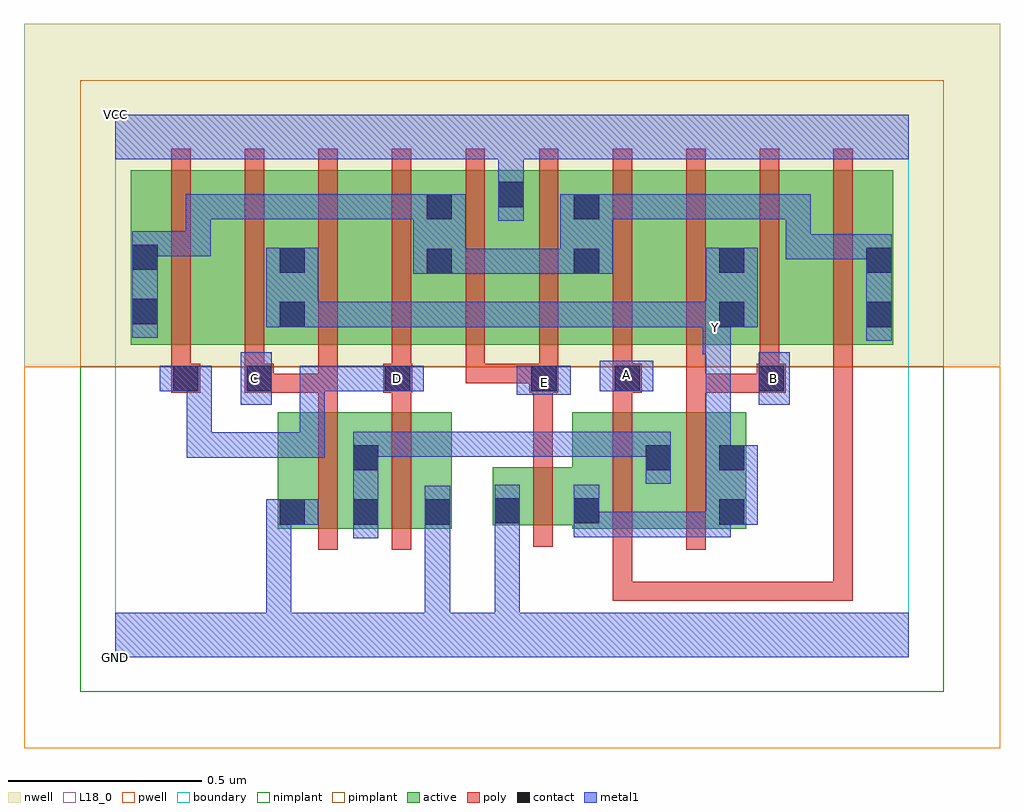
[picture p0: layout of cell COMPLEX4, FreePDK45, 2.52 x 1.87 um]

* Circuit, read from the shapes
.subckt COMPLEX4 A B C D E GND VCC Y
M1 n1 C GND VSUBS nfet w=0.3u l=0.05u
M2 GND D n1 VSUBS nfet w=0.3u l=0.05u
M3 Y E GND VSUBS nfet w=0.15u l=0.05u
M4 n1 A Y VSUBS nfet w=0.3u l=0.05u
M5 Y B n1 VSUBS nfet w=0.3u l=0.05u
M6 n2 D n3 n4 pfet w=0.45u l=0.05u
M7 Y C n2 n4 pfet w=0.45u l=0.05u
M8 n5 C Y n4 pfet w=0.45u l=0.05u
M9 n3 D n5 n4 pfet w=0.45u l=0.05u
M10 VCC E n3 n4 pfet w=0.45u l=0.05u m=2
M11 n6 A n3 n4 pfet w=0.45u l=0.05u
M12 Y B n6 n4 pfet w=0.45u l=0.05u
M13 n7 B Y n4 pfet w=0.45u l=0.05u
M14 n3 A n7 n4 pfet w=0.45u l=0.05u
.ends

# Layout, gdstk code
import gdstk
lib = gdstk.Library(unit=1e-6, precision=1e-09)
def R(c, l, rs):  # rectangles x0, y0, x1, y1
    for r in rs: c.add(gdstk.rectangle(r[:2], r[2:], *l))
def A(c, l, x, y, w, h, nx, ny, dx, dy):  # array of equal rectangles
    R(c, l, [(x+i*dx, y+j*dy, x+i*dx+w, y+j*dy+h) for i in range(nx) for j in range(ny)])
active = (1, 0)
pwell = (2, 0)
nwell = (3, 0)
nimplant = (4, 0)
pimplant = (5, 0)
poly = (9, 0)
contact = (10, 0)
metal1 = (11, 0)
L18_0 = (18, 0)
boundary = (235, 0)

complex4 = lib.new_cell('COMPLEX4')
R(complex4, active, [(0.42,0.332,0.685,0.632), (0.42,0.332,0.495,0.632), (0.61,0.332,0.87,0.632), (0.61,0.332,0.685,0.552), (0.795,0.332,0.87,0.547), (1.18,0.332,1.44,0.632), (1.18,0.332,1.255,0.49), (1.365,0.332,1.63,0.632), (1.555,0.337,1.63,0.632), (0.975,0.34,1.255,0.49), (0.975,0.34,1.05,0.49), (1.365,0.395,1.44,0.552), (0.04,0.807,0.265,1.257), (0.04,0.807,0.145,1.2), (0.265,0.807,0.495,1.257), (0.42,0.807,0.645,1.257), (0.42,0.807,0.495,1.07), (0.645,0.807,0.875,1.257), (0.8,0.807,1.06,1.257), (0.985,0.807,1.255,1.257), (1.18,0.807,1.405,1.257), (1.405,0.807,1.63,1.257), (1.555,0.807,1.785,1.257), (1.555,0.807,1.63,1.07), (1.785,0.807,2.01,1.257), (1.935,0.807,2.01,1.2), (0.985,0.852,1.06,1.255), (0.8,0.857,0.875,1.2), (1.18,0.857,1.255,1.2)])
R(complex4, pwell, [(-0.235,-0.235,2.285,0.75)])
R(complex4, nwell, [(-0.235,0.75,2.285,1.635)])
R(complex4, nimplant, [(-0.09,-0.09,2.14,0.75)])
R(complex4, pimplant, [(-0.09,0.75,2.14,1.49)])
A(complex4, poly, 0.715, 0.707, 0.05, 0.095, 4, 1, 0.19, 0)
A(complex4, poly, 0.145, 0.752, 0.05, 0.56, 10, 1, 0.19, 0)
R(complex4, poly, [(1.285,0.145,1.335,0.195), (1.285,0.145,1.335,0.195), (1.285,0.145,1.335,0.195), (1.285,0.145,1.575,0.195), (1.285,0.145,1.335,0.327), (1.525,0.145,1.575,0.195), (1.525,0.145,1.575,0.195), (1.525,0.145,1.575,0.195), (1.525,0.145,1.772,0.195), (1.722,0.145,1.772,0.195), (1.722,0.145,1.772,0.195), (1.722,0.145,1.772,0.195), (1.722,0.145,1.905,0.195), (1.855,0.145,1.905,0.802), (1.855,0.145,1.905,0.195), (1.855,0.145,1.905,0.195), (1.855,0.145,1.905,0.195), (1.855,0.145,1.905,0.195), (1.855,0.145,1.905,0.195), (1.855,0.145,1.905,0.195), (1.855,0.145,1.905,0.195), (1.855,0.145,1.905,0.195), (1.855,0.145,1.905,0.195), (0.525,0.277,0.575,0.687), (0.715,0.277,0.765,0.687), (1.285,0.277,1.335,0.687), (1.475,0.277,1.525,0.687), (1.08,0.285,1.13,0.545), (1.08,0.495,1.13,0.732), (0.525,0.637,0.575,0.732), (0.715,0.637,0.765,0.732), (1.285,0.637,1.335,0.732), (1.475,0.637,1.525,0.732), (0.145,0.682,0.22,0.757), (0.335,0.682,0.41,0.757), (0.36,0.682,0.41,0.732), (0.36,0.682,0.41,0.732), (0.36,0.682,0.575,0.732), (0.525,0.682,0.575,0.732), (0.525,0.682,0.575,0.802), (0.692,0.682,0.767,0.757), (1.07,0.682,1.145,0.757), (1.285,0.682,1.36,0.757), (1.475,0.682,1.525,0.732), (1.475,0.682,1.707,0.732), (1.475,0.682,1.525,0.802), (1.657,0.682,1.707,0.732), (1.657,0.682,1.707,0.732), (1.657,0.682,1.732,0.757), (0.145,0.707,0.195,0.802), (0.335,0.707,0.385,0.802), (0.905,0.707,0.955,0.757), (0.905,0.707,0.955,0.757), (0.905,0.707,0.955,0.757), (0.905,0.707,1.12,0.757), (1.665,0.707,1.715,0.802)])
R(complex4, contact, [(0.425,0.342,0.49,0.407), (0.615,0.342,0.68,0.407), (0.8,0.342,0.865,0.407), (1.56,0.342,1.625,0.407), (0.98,0.345,1.045,0.41), (1.185,0.345,1.25,0.41), (0.615,0.482,0.68,0.547), (1.37,0.482,1.435,0.547), (1.56,0.482,1.625,0.547), (0.15,0.687,0.215,0.752), (0.34,0.687,0.405,0.752), (0.697,0.687,0.762,0.752), (1.075,0.687,1.14,0.752), (1.29,0.687,1.355,0.752), (1.662,0.687,1.727,0.752), (0.425,0.852,0.49,0.917), (1.56,0.852,1.625,0.917), (1.94,0.852,2.005,0.917), (0.045,0.86,0.11,0.925), (0.805,0.99,0.87,1.055), (1.185,0.99,1.25,1.055), (0.425,0.992,0.49,1.057), (1.56,0.992,1.625,1.057), (1.94,0.992,2.005,1.057), (0.045,1,0.11,1.065), (0.805,1.13,0.87,1.195), (1.185,1.13,1.25,1.195), (0.99,1.162,1.055,1.227)])
R(complex4, metal1, [(0,0,2.05,0.115), (0.39,0.05,0.455,0.407), (0.8,0.05,0.865,0.372), (0.98,0.05,1.045,0.115), (0.98,0.05,1.045,0.115), (0.98,0.05,1.045,0.375), (0.615,0.307,0.68,0.582), (0.8,0.307,0.865,0.372), (0.8,0.307,0.865,0.372), (0.8,0.307,0.865,0.372), (0.8,0.307,0.865,0.372), (0.8,0.307,0.865,0.442), (0.98,0.31,1.045,0.375), (0.98,0.31,1.045,0.375), (0.98,0.31,1.045,0.375), (0.98,0.31,1.045,0.375), (0.98,0.31,1.045,0.445), (1.185,0.31,1.25,0.445), (1.185,0.31,1.445,0.375), (1.38,0.31,1.445,0.375), (1.38,0.31,1.445,0.375), (1.38,0.31,1.445,0.375), (1.38,0.31,1.59,0.375), (1.525,0.31,1.59,0.375), (1.525,0.31,1.59,0.375), (1.525,0.31,1.59,0.375), (1.525,0.31,1.59,0.407), (0.39,0.342,0.455,0.407), (0.39,0.342,0.455,0.407), (0.39,0.342,0.455,0.407), (0.39,0.342,0.455,0.407), (0.39,0.342,0.525,0.407), (1.525,0.342,1.66,0.547), (1.37,0.447,1.435,0.582), (1.525,0.482,1.59,0.847), (0.185,0.515,0.25,0.58), (0.185,0.515,0.387,0.58), (0.185,0.515,0.25,0.752), (0.322,0.515,0.387,0.58), (0.322,0.515,0.542,0.58), (0.477,0.515,0.542,0.58), (0.477,0.515,0.542,0.752), (0.615,0.517,0.68,0.582), (0.615,0.517,0.68,0.582), (0.615,0.517,0.817,0.582), (0.752,0.517,0.817,0.582), (0.752,0.517,0.817,0.582), (0.752,0.517,0.817,0.582), (0.752,0.517,1.042,0.582), (0.977,0.517,1.042,0.582), (0.977,0.517,1.042,0.582), (0.977,0.517,1.042,0.582), (0.977,0.517,1.182,0.582), (1.117,0.517,1.182,0.582), (1.117,0.517,1.182,0.582), (1.117,0.517,1.182,0.582), (1.117,0.517,1.435,0.582), (0.325,0.652,0.405,0.787), (1.662,0.652,1.742,0.787), (1.037,0.677,1.177,0.752), (0.115,0.687,0.25,0.752), (0.185,0.687,0.25,0.752), (0.185,0.687,0.25,0.752), (0.477,0.687,0.542,0.752), (0.477,0.687,0.542,0.752), (0.477,0.687,0.542,0.752), (0.477,0.687,0.68,0.752), (0.615,0.687,0.68,0.752), (0.615,0.687,0.727,0.752), (0.662,0.687,0.797,0.752), (1.252,0.687,1.39,0.765), (1.517,0.782,1.59,0.917), (1.94,0.817,2.005,1.092), (0.045,0.825,0.11,1.1), (0.39,0.852,0.525,1.057), (0.46,0.852,0.542,0.917), (0.477,0.852,0.542,0.917), (0.477,0.852,0.68,0.917), (0.615,0.852,0.68,0.917), (0.615,0.852,0.68,0.917), (0.615,0.852,0.68,0.917), (0.615,0.852,0.817,0.917), (0.752,0.852,0.817,0.917), (0.752,0.852,0.817,0.917), (0.752,0.852,0.817,0.917), (0.752,0.852,1.042,0.917), (0.977,0.852,1.042,0.917), (0.977,0.852,1.042,0.917), (0.977,0.852,1.042,0.917), (0.977,0.852,1.18,0.917), (1.115,0.852,1.18,0.917), (1.115,0.852,1.445,0.917), (1.38,0.852,1.445,0.917), (1.38,0.852,1.445,0.917), (1.38,0.852,1.445,0.917), (1.38,0.852,1.59,0.917), (1.525,0.852,1.59,0.917), (1.525,0.852,1.59,0.917), (1.525,0.852,1.59,0.917), (1.525,0.852,1.66,1.057), (0.77,0.99,0.905,1.195), (0.84,0.99,0.905,1.055), (0.84,0.99,0.905,1.055), (0.84,0.99,1.042,1.055), (0.977,0.99,1.042,1.055), (0.977,0.99,1.042,1.055), (0.977,0.99,1.042,1.055), (0.977,0.99,1.215,1.055), (1.15,0.99,1.285,1.195), (1.732,1.027,1.797,1.092), (1.732,1.027,2.005,1.092), (1.732,1.027,1.797,1.195), (1.94,1.027,2.005,1.092), (1.94,1.027,2.005,1.092), (0.045,1.035,0.11,1.1), (0.045,1.035,0.11,1.1), (0.045,1.035,0.247,1.1), (0.182,1.035,0.247,1.1), (0.182,1.035,0.247,1.195), (0.99,1.127,1.055,1.262), (0.182,1.13,0.247,1.195), (0.182,1.13,0.405,1.195), (0.34,1.13,0.405,1.195), (0.34,1.13,0.405,1.195), (0.34,1.13,0.405,1.195), (0.34,1.13,0.542,1.195), (0.477,1.13,0.542,1.195), (0.477,1.13,0.68,1.195), (0.615,1.13,0.68,1.195), (0.615,1.13,0.68,1.195), (0.615,1.13,0.68,1.195), (0.615,1.13,0.835,1.195), (1.22,1.13,1.285,1.195), (1.22,1.13,1.285,1.195), (1.22,1.13,1.445,1.195), (1.38,1.13,1.445,1.195), (1.38,1.13,1.59,1.195), (1.525,1.13,1.59,1.195), (1.525,1.13,1.59,1.195), (1.525,1.13,1.59,1.195), (1.525,1.13,1.797,1.195), (1.732,1.13,1.797,1.195), (1.732,1.13,1.797,1.195), (1.732,1.13,1.797,1.195), (0.99,1.197,1.055,1.35), (0,1.285,2.05,1.4)])
R(complex4, L18_0, [(0,0,2.05,0.115), (0.39,0.05,0.455,0.407), (0.8,0.05,0.865,0.372), (0.98,0.05,1.045,0.115), (0.98,0.05,1.045,0.115), (0.98,0.05,1.045,0.375), (0.8,0.307,0.865,0.372), (0.8,0.307,0.865,0.372), (0.8,0.307,0.865,0.372), (0.8,0.307,0.865,0.372), (0.8,0.307,0.865,0.442), (0.98,0.31,1.045,0.375), (0.98,0.31,1.045,0.375), (0.98,0.31,1.045,0.375), (0.98,0.31,1.045,0.375), (0.98,0.31,1.045,0.445), (1.185,0.31,1.25,0.445), (1.185,0.31,1.445,0.375), (1.38,0.31,1.445,0.375), (1.38,0.31,1.445,0.375), (1.38,0.31,1.445,0.375), (1.38,0.31,1.59,0.375), (1.525,0.31,1.59,0.375), (1.525,0.31,1.59,0.375), (1.525,0.31,1.59,0.375), (1.525,0.31,1.59,0.407), (0.39,0.342,0.525,0.407), (0.39,0.342,0.455,0.407), (0.39,0.342,0.455,0.407), (0.39,0.342,0.455,0.407), (0.39,0.342,0.455,0.407), (1.525,0.342,1.66,0.547), (1.525,0.482,1.59,0.847), (0.185,0.515,0.25,0.58), (0.185,0.515,0.25,0.752), (0.185,0.515,0.387,0.58), (0.322,0.515,0.387,0.58), (0.322,0.515,0.542,0.58), (0.477,0.515,0.542,0.58), (0.477,0.515,0.542,0.752), (0.325,0.652,0.405,0.787), (1.662,0.652,1.742,0.787), (1.037,0.677,1.177,0.752), (1.077,0.677,1.142,0.742), (0.115,0.687,0.25,0.752), (0.185,0.687,0.25,0.752), (0.185,0.687,0.25,0.752), (0.327,0.687,0.392,0.752), (0.477,0.687,0.542,0.752), (0.477,0.687,0.542,0.752), (0.477,0.687,0.542,0.752), (0.477,0.687,0.68,0.752), (0.615,0.687,0.68,0.752), (0.615,0.687,0.727,0.752), (0.662,0.687,0.797,0.752), (0.697,0.687,0.762,0.752), (1.252,0.687,1.39,0.765), (1.667,0.687,1.732,0.752), (1.287,0.697,1.352,0.762), (1.517,0.782,1.59,0.917), (1.517,0.817,1.582,0.882), (0.39,0.852,0.525,1.057), (0.46,0.852,0.542,0.917), (0.477,0.852,0.542,0.917), (0.477,0.852,0.68,0.917), (0.615,0.852,0.68,0.917), (0.615,0.852,0.68,0.917), (0.615,0.852,0.68,0.917), (0.615,0.852,0.817,0.917), (0.752,0.852,0.817,0.917), (0.752,0.852,0.817,0.917), (0.752,0.852,0.817,0.917), (0.752,0.852,1.042,0.917), (0.977,0.852,1.042,0.917), (0.977,0.852,1.042,0.917), (0.977,0.852,1.042,0.917), (0.977,0.852,1.18,0.917), (1.115,0.852,1.18,0.917), (1.115,0.852,1.445,0.917), (1.38,0.852,1.445,0.917), (1.38,0.852,1.445,0.917), (1.38,0.852,1.445,0.917), (1.38,0.852,1.59,0.917), (1.525,0.852,1.59,0.917), (1.525,0.852,1.59,0.917), (1.525,0.852,1.59,0.917), (1.525,0.852,1.66,1.057), (0.99,1.127,1.055,1.262), (0.99,1.197,1.055,1.35), (0,1.285,2.05,1.4)])
R(complex4, boundary, [(0,0,2.05,1.4)])
complex4.add(gdstk.Label('A', (1.32,0.73), layer=11, texttype=0))
complex4.add(gdstk.Label('B', (1.7,0.72), layer=11, texttype=0))
complex4.add(gdstk.Label('C', (0.36,0.72), layer=11, texttype=0))
complex4.add(gdstk.Label('D', (0.73,0.72), layer=11, texttype=0))
complex4.add(gdstk.Label('E', (1.11,0.71), layer=11, texttype=0))
complex4.add(gdstk.Label('Y', (1.55,0.85), layer=11, texttype=0))
complex4.add(gdstk.Label('VCC', (0,1.4), layer=11, texttype=0))
complex4.add(gdstk.Label('GND', (0,0), layer=11, texttype=0))

lib.write_gds('COMPLEX4.gds')
